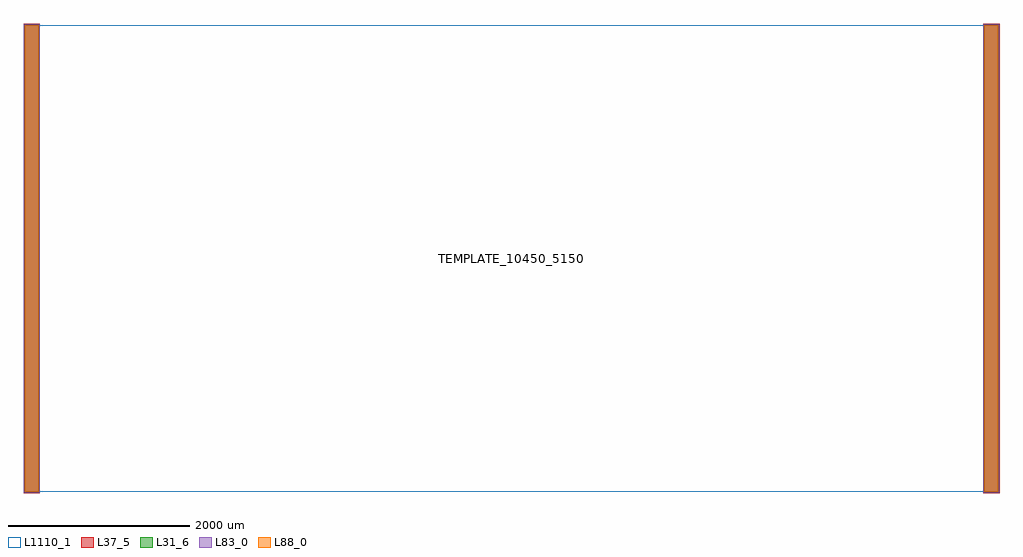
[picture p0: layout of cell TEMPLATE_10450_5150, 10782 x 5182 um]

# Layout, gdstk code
import gdstk
lib = gdstk.Library(unit=1e-6, precision=1e-09)
def R(c, l, rs):  # rectangles x0, y0, x1, y1
    for r in rs: c.add(gdstk.rectangle(r[:2], r[2:], *l))
def P(c, l, *ps):  # polygons
    for p in ps: c.add(gdstk.Polygon(p, *l))
L31_6 = (31, 6)
L37_5 = (37, 5)
L83_0 = (83, 0)
L88_0 = (88, 0)
L1110_1 = (1110, 1)

template_10450_5150 = lib.new_cell('TEMPLATE_10450_5150')
R(template_10450_5150, L31_6, [(-165.2,-15.2,15.2,5165.2), (10434.8,-15.2,10615.2,5165.2)])
R(template_10450_5150, L37_5, [(-166,-16,16,5166), (10434,-16,10616,5166)])
R(template_10450_5150, L83_0, [(-165,-15,15,5165), (10435,-15,10615,5165)])
R(template_10450_5150, L88_0, [(-150,0,0,5150), (10450,0,10600,5150)])
P(template_10450_5150, L1110_1, [(-166,-16),(-166,5166),(16,5166),(16,5150),(10434,5150),(10434,5166),(10616,5166),(10616,-16),(10434,-16),(10434,0),(16,0),(16,-16)])
template_10450_5150.add(gdstk.Label('TEMPLATE_10450_5150', (5225,2575.5), layer=1002, texttype=0))
template_10450_5150.add(gdstk.Label('ISIPP50G_2_3_0', (5225,2575), layer=1002, texttype=0))
template_10450_5150.add(gdstk.Label('imec_cell', (5225,2574.5), layer=1002, texttype=0))

lib.write_gds('TEMPLATE_10450_5150.gds')
